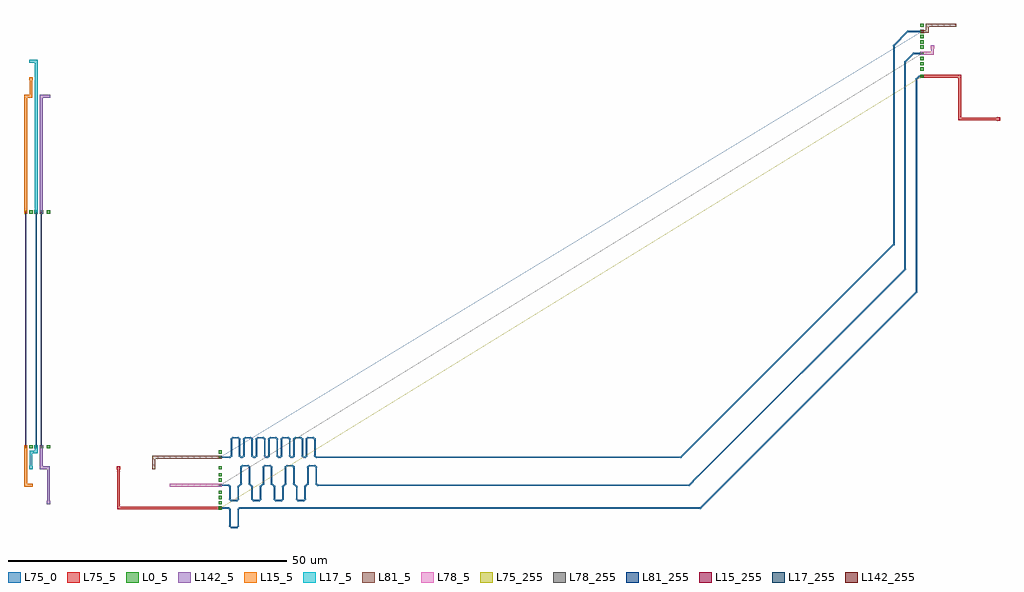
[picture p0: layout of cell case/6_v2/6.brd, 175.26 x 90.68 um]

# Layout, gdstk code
import gdstk
lib = gdstk.Library(unit=1e-6, precision=2.5e-10)
def R(c, l, rs):  # rectangles x0, y0, x1, y1
    for r in rs: c.add(gdstk.rectangle(r[:2], r[2:], *l))
def A(c, l, x, y, w, h, nx, ny, dx, dy):  # array of equal rectangles
    R(c, l, [(x+i*dx, y+j*dy, x+i*dx+w, y+j*dy+h) for i in range(nx) for j in range(ny)])
def P(c, l, *ps):  # polygons
    for p in ps: c.add(gdstk.Polygon(p, *l))
L0_5 = (0, 5)
L15_5 = (15, 5)
L15_255 = (15, 255)
L17_5 = (17, 5)
L17_255 = (17, 255)
L75_0 = (75, 0)
L75_5 = (75, 5)
L75_255 = (75, 255)
L78_5 = (78, 5)
L78_255 = (78, 255)
L81_5 = (81, 5)
L81_255 = (81, 255)
L142_5 = (142, 5)
L142_255 = (142, 255)

case_6_v2_6_brd = lib.new_cell('case/6_v2/6.brd')
R(case_6_v2_6_brd, L0_5, [(679.904,1205.252,680.504,1205.852), (679.904,1205.252,680.504,1205.852), (679.904,1205.252,680.504,1205.852), (679.904,1206.192,680.504,1206.792), (679.904,1206.192,680.504,1206.792), (679.904,1206.192,680.504,1206.792), (679.904,1207.132,680.504,1207.732), (679.904,1207.132,680.504,1207.732), (679.904,1207.132,680.504,1207.732), (679.904,1208.072,680.504,1208.672), (679.904,1208.072,680.504,1208.672), (679.904,1208.072,680.504,1208.672), (679.904,1209.342,680.504,1209.942), (679.904,1209.342,680.504,1209.942), (679.904,1209.342,680.504,1209.942), (679.904,1210.282,680.504,1210.882), (679.904,1210.282,680.504,1210.882), (679.904,1210.282,680.504,1210.882), (679.904,1211.222,680.504,1211.822), (679.904,1211.222,680.504,1211.822), (679.904,1211.222,680.504,1211.822), (679.904,1212.491,680.504,1213.091), (679.904,1212.491,680.504,1213.091), (679.904,1212.491,680.504,1213.091), (679.904,1214.371,680.504,1214.971), (679.904,1214.371,680.504,1214.971), (679.904,1214.371,680.504,1214.971), (679.904,1215.311,680.504,1215.911), (679.904,1215.311,680.504,1215.911), (679.904,1215.311,680.504,1215.911), (644.977,1216.251,645.577,1216.851), (644.977,1216.251,645.577,1216.851), (644.977,1216.251,645.577,1216.851), (645.917,1216.251,646.517,1216.851), (645.917,1216.251,646.517,1216.851), (645.917,1216.251,646.517,1216.851), (646.857,1216.251,647.457,1216.851), (646.857,1216.251,647.457,1216.851), (646.857,1216.251,647.457,1216.851), (647.797,1216.251,648.397,1216.851), (647.797,1216.251,648.397,1216.851), (647.797,1216.251,648.397,1216.851), (649.067,1216.251,649.667,1216.851), (649.067,1216.251,649.667,1216.851), (649.067,1216.251,649.667,1216.851), (644.977,1258.415,645.577,1259.015), (644.977,1258.415,645.577,1259.015), (644.977,1258.415,645.577,1259.015), (645.917,1258.415,646.517,1259.015), (645.917,1258.415,646.517,1259.015), (645.917,1258.415,646.517,1259.015), (646.857,1258.415,647.457,1259.015), (646.857,1258.415,647.457,1259.015), (646.857,1258.415,647.457,1259.015), (647.797,1258.415,648.397,1259.015), (647.797,1258.415,648.397,1259.015), (647.797,1258.415,648.397,1259.015), (649.067,1258.415,649.667,1259.015), (649.067,1258.415,649.667,1259.015), (649.067,1258.415,649.667,1259.015), (805.946,1282.789,806.546,1283.389), (805.946,1282.789,806.546,1283.389), (805.946,1282.789,806.546,1283.389), (805.946,1284.083,806.546,1284.683), (805.946,1284.083,806.546,1284.683), (805.946,1284.083,806.546,1284.683), (805.946,1285.023,806.546,1285.623), (805.946,1285.023,806.546,1285.623), (805.946,1285.023,806.546,1285.623), (805.946,1285.963,806.546,1286.563), (805.946,1285.963,806.546,1286.563), (805.946,1285.963,806.546,1286.563), (805.946,1286.903,806.546,1287.503), (805.946,1286.903,806.546,1287.503), (805.946,1286.903,806.546,1287.503), (805.946,1288.02,806.546,1288.62), (805.946,1288.02,806.546,1288.62), (805.946,1288.02,806.546,1288.62), (805.946,1288.96,806.546,1289.56), (805.946,1288.96,806.546,1289.56), (805.946,1288.96,806.546,1289.56), (805.946,1289.9,806.546,1290.5), (805.946,1289.9,806.546,1290.5), (805.946,1289.9,806.546,1290.5), (805.946,1290.84,806.546,1291.44), (805.946,1290.84,806.546,1291.44), (805.946,1290.84,806.546,1291.44), (805.946,1291.957,806.546,1292.557), (805.946,1291.957,806.546,1292.557), (805.946,1291.957,806.546,1292.557)])
A(case_6_v2_6_brd, L15_5, 645.027, 1258.465, 0.5, 1.44, 1, 4, 0, 0.94)
A(case_6_v2_6_brd, L15_5, 645.027, 1266.644, 0.5, 1.44, 1, 12, 0, 0.94)
R(case_6_v2_6_brd, L15_5, [(645.917,1209.342,646.517,1209.942), (645.027,1209.392,646.467,1209.892), (645.027,1209.392,645.527,1210.832), (645.027,1210.332,645.527,1211.772), (645.027,1211.272,645.527,1213.041), (645.027,1212.541,645.527,1214.921), (645.027,1214.421,645.527,1215.861), (645.027,1215.361,645.527,1216.801), (645.027,1262.225,645.527,1263.994), (645.027,1263.494,645.527,1264.934), (645.027,1264.434,645.527,1265.874), (645.027,1265.374,645.527,1267.144), (645.027,1277.924,645.527,1279.742), (645.027,1279.242,646.467,1279.742), (645.967,1279.242,646.467,1280.682), (645.967,1280.182,646.467,1281.622), (645.967,1281.122,646.467,1282.892), (645.917,1282.342,646.517,1282.942)])
P(case_6_v2_6_brd, L15_255, [(645.277,1216.551),(645.277,1258.715),(645.277,1258.715),(645.277,1216.551)])
A(case_6_v2_6_brd, L17_5, 646.907, 1258.465, 0.5, 1.44, 1, 4, 0, 0.94)
A(case_6_v2_6_brd, L17_5, 646.907, 1266.644, 0.5, 1.44, 1, 12, 0, 0.94)
R(case_6_v2_6_brd, L17_5, [(645.917,1212.491,646.517,1213.091), (645.967,1212.541,646.467,1214.921), (645.967,1214.421,646.467,1215.861), (645.967,1215.361,647.407,1215.861), (646.907,1215.361,647.407,1216.801), (646.907,1262.225,647.407,1263.994), (646.907,1263.494,647.407,1264.934), (646.907,1264.434,647.407,1265.874), (646.907,1265.374,647.407,1267.144), (646.907,1277.924,647.407,1279.742), (646.907,1279.242,647.407,1280.682), (646.907,1280.182,647.407,1281.622), (646.907,1281.122,647.407,1282.892), (646.907,1282.392,647.407,1283.832), (646.907,1283.332,647.407,1284.772), (646.907,1284.272,647.407,1286.041), (645.917,1285.491,646.517,1286.091), (645.967,1285.539,647.407,1286.039)])
P(case_6_v2_6_brd, L17_255, [(647.157,1216.551),(647.157,1258.715),(647.157,1258.715),(647.157,1216.551)])
A(case_6_v2_6_brd, L75_5, 661.715, 1205.302, 1.44, 0.5, 5, 1, 0.94, 0)
A(case_6_v2_6_brd, L75_5, 676.194, 1205.302, 1.44, 0.5, 4, 1, 0.94, 0)
A(case_6_v2_6_brd, L75_5, 815.75, 1275.142, 1.44, 0.5, 3, 1, 0.94, 0)
A(case_6_v2_6_brd, L75_5, 812.753, 1276.259, 0.5, 1.44, 1, 7, 0, 0.94)
A(case_6_v2_6_brd, L75_5, 805.996, 1282.839, 1.44, 0.5, 5, 1, 0.94, 0)
R(case_6_v2_6_brd, L75_5, [(661.715,1205.302,662.215,1213.041), (666.415,1205.302,668.514,1205.802), (668.014,1205.302,669.454,1205.802), (668.954,1205.302,670.394,1205.802), (669.894,1205.302,671.664,1205.802), (671.164,1205.302,672.604,1205.802), (672.104,1205.302,673.544,1205.802), (673.044,1205.302,674.814,1205.802), (674.314,1205.302,676.694,1205.802), (661.665,1212.491,662.265,1213.091), (819.637,1275.092,820.237,1275.692), (812.753,1275.142,814.193,1275.642), (812.753,1275.142,813.253,1276.759), (813.693,1275.142,815.133,1275.642), (814.633,1275.142,816.25,1275.642), (818.57,1275.142,820.187,1275.642), (810.696,1282.839,812.313,1283.339), (811.813,1282.839,813.253,1283.339)])
P(case_6_v2_6_brd, L75_255, [(680.204,1205.552),(680.204,1205.552),(806.246,1283.089),(806.246,1283.089)])
A(case_6_v2_6_brd, L78_5, 676.194, 1209.392, 1.44, 0.5, 4, 1, 0.94, 0)
R(case_6_v2_6_brd, L78_5, [(671.114,1209.342,671.714,1209.942), (671.164,1209.392,672.604,1209.892), (672.104,1209.392,673.544,1209.892), (673.044,1209.392,674.814,1209.892), (674.314,1209.392,676.694,1209.892), (805.996,1286.953,807.436,1287.453), (806.936,1286.953,808.376,1287.453), (807.876,1286.953,808.376,1288.57), (807.826,1288.02,808.426,1288.62)])
P(case_6_v2_6_brd, L78_255, [(680.204,1209.642),(680.204,1209.642),(806.246,1287.203),(806.246,1287.203)])
A(case_6_v2_6_brd, L81_5, 676.194, 1214.421, 1.44, 0.5, 4, 1, 0.94, 0)
A(case_6_v2_6_brd, L81_5, 806.936, 1292.007, 1.44, 0.5, 4, 1, 0.94, 0)
R(case_6_v2_6_brd, L81_5, [(667.964,1212.491,668.564,1213.091), (668.014,1212.541,668.514,1214.921), (668.014,1214.421,669.454,1214.921), (668.954,1214.421,670.394,1214.921), (669.894,1214.421,671.664,1214.921), (671.164,1214.421,672.604,1214.921), (672.104,1214.421,673.544,1214.921), (673.044,1214.421,674.814,1214.921), (674.314,1214.421,676.694,1214.921), (805.996,1290.89,807.436,1291.39), (806.936,1290.89,807.436,1292.507), (811.763,1291.957,812.363,1292.557), (810.696,1292.007,812.313,1292.507)])
P(case_6_v2_6_brd, L81_255, [(680.204,1214.671),(680.204,1214.671),(806.246,1291.14),(806.246,1291.14)])
A(case_6_v2_6_brd, L142_5, 647.847, 1258.465, 0.5, 1.44, 1, 4, 0, 0.94)
A(case_6_v2_6_brd, L142_5, 647.847, 1266.644, 0.5, 1.44, 1, 12, 0, 0.94)
R(case_6_v2_6_brd, L142_5, [(649.067,1206.192,649.667,1206.792), (649.117,1206.242,649.617,1207.682), (649.117,1207.182,649.617,1208.622), (649.117,1208.122,649.617,1209.892), (649.117,1209.392,649.617,1210.832), (649.117,1210.332,649.617,1211.772), (649.117,1211.272,649.617,1213.041), (647.847,1212.541,649.617,1213.041), (647.847,1212.541,648.347,1214.921), (647.847,1214.421,648.347,1215.861), (647.847,1215.361,648.347,1216.801), (647.847,1262.225,648.347,1263.994), (647.847,1263.494,648.347,1264.934), (647.847,1264.434,648.347,1265.874), (647.847,1265.374,648.347,1267.144), (647.847,1277.924,648.347,1279.742), (649.067,1279.192,649.667,1279.792), (647.847,1279.242,649.617,1279.742)])
P(case_6_v2_6_brd, L142_255, [(648.097,1216.551),(648.097,1258.715),(648.097,1258.715),(648.097,1216.551)])
case_6_v2_6_brd.add(gdstk.FlexPath([(764.436,1216.171),(801.171,1252.905)], 0.25, ends="round", simple_path=True, layer=75, datatype=0))  # L75_0
case_6_v2_6_brd.add(gdstk.FlexPath([(683.704,1205.552),(766.452,1205.552)], 0.25, ends="round", simple_path=True, layer=75, datatype=0))  # L75_0
case_6_v2_6_brd.add(gdstk.FlexPath([(805.221,1245.82),(805.221,1282.576)], 0.25, ends="round", simple_path=True, layer=75, datatype=0))  # L75_0
case_6_v2_6_brd.add(gdstk.FlexPath([(697.704,1209.642),(764.415,1209.642)], 0.25, ends="round", simple_path=True, layer=75, datatype=0))  # L75_0
case_6_v2_6_brd.add(gdstk.FlexPath([(697.454,1214.671),(762.936,1214.671)], 0.25, ends="round", simple_path=True, layer=75, datatype=0))  # L75_0
case_6_v2_6_brd.add(gdstk.FlexPath([(765.915,1211.142),(803.196,1248.422)], 0.25, ends="round", simple_path=True, layer=75, datatype=0))  # L75_0
case_6_v2_6_brd.add(gdstk.FlexPath([(645.277,1218.051),(645.277,1258.715)], 0.15, ends="round", simple_path=True, layer=75, datatype=0))  # L75_0
case_6_v2_6_brd.add(gdstk.FlexPath([(647.157,1218.051),(647.157,1258.715)], 0.15, ends="round", simple_path=True, layer=75, datatype=0))  # L75_0
case_6_v2_6_brd.add(gdstk.FlexPath([(648.097,1218.051),(648.097,1258.715)], 0.15, ends="round", simple_path=True, layer=75, datatype=0))  # L75_0
case_6_v2_6_brd.add(gdstk.FlexPath([(805.733,1283.089),(806.246,1283.089)], 0.25, ends="round", simple_path=True, layer=75, datatype=0))  # L75_0
case_6_v2_6_brd.add(gdstk.FlexPath([(801.171,1252.905),(801.171,1254.405)], 0.25, ends="round", simple_path=True, layer=75, datatype=0))  # L75_0
case_6_v2_6_brd.add(gdstk.FlexPath([(801.171,1254.405),(801.171,1288.602)], 0.25, ends="round", simple_path=True, layer=75, datatype=0))  # L75_0
case_6_v2_6_brd.add(gdstk.FlexPath([(803.708,1291.14),(806.246,1291.14)], 0.25, ends="round", simple_path=True, layer=75, datatype=0))  # L75_0
case_6_v2_6_brd.add(gdstk.FlexPath([(805.221,1282.576),(805.733,1283.089)], 0.25, ends="round", simple_path=True, layer=75, datatype=0))  # L75_0
case_6_v2_6_brd.add(gdstk.FlexPath([(801.171,1288.602),(803.708,1291.14)], 0.25, ends="round", simple_path=True, layer=75, datatype=0))  # L75_0
case_6_v2_6_brd.add(gdstk.FlexPath([(803.196,1285.678),(804.721,1287.203)], 0.25, ends="round", simple_path=True, layer=75, datatype=0))  # L75_0
case_6_v2_6_brd.add(gdstk.FlexPath([(803.196,1248.422),(803.196,1249.922)], 0.25, ends="round", simple_path=True, layer=75, datatype=0))  # L75_0
case_6_v2_6_brd.add(gdstk.FlexPath([(803.196,1249.922),(803.196,1285.678)], 0.25, ends="round", simple_path=True, layer=75, datatype=0))  # L75_0
case_6_v2_6_brd.add(gdstk.FlexPath([(804.721,1287.203),(806.246,1287.203)], 0.25, ends="round", simple_path=True, layer=75, datatype=0))  # L75_0
case_6_v2_6_brd.add(gdstk.FlexPath([(685.204,1213.142),(685.454,1212.892)], 0.25, ends="round", simple_path=True, layer=75, datatype=0))  # L75_0
case_6_v2_6_brd.add(gdstk.FlexPath([(684.704,1218.171),(685.704,1218.171)], 0.25, ends="round", simple_path=True, layer=75, datatype=0))  # L75_0
case_6_v2_6_brd.add(gdstk.FlexPath([(685.454,1209.892),(685.704,1209.642)], 0.25, ends="round", simple_path=True, layer=75, datatype=0))  # L75_0
case_6_v2_6_brd.add(gdstk.FlexPath([(685.454,1212.892),(685.454,1209.892)], 0.25, ends="round", simple_path=True, layer=75, datatype=0))  # L75_0
case_6_v2_6_brd.add(gdstk.FlexPath([(682.204,1214.921),(682.204,1217.921)], 0.25, ends="round", simple_path=True, layer=75, datatype=0))  # L75_0
case_6_v2_6_brd.add(gdstk.FlexPath([(682.454,1218.171),(683.454,1218.171)], 0.25, ends="round", simple_path=True, layer=75, datatype=0))  # L75_0
case_6_v2_6_brd.add(gdstk.FlexPath([(683.704,1217.921),(683.704,1214.921)], 0.25, ends="round", simple_path=True, layer=75, datatype=0))  # L75_0
case_6_v2_6_brd.add(gdstk.FlexPath([(683.954,1214.671),(684.204,1214.671)], 0.25, ends="round", simple_path=True, layer=75, datatype=0))  # L75_0
case_6_v2_6_brd.add(gdstk.FlexPath([(684.454,1214.921),(684.454,1217.921)], 0.25, ends="round", simple_path=True, layer=75, datatype=0))  # L75_0
case_6_v2_6_brd.add(gdstk.FlexPath([(683.954,1212.892),(684.204,1213.142)], 0.25, ends="round", simple_path=True, layer=75, datatype=0))  # L75_0
case_6_v2_6_brd.add(gdstk.FlexPath([(681.954,1214.671),(682.204,1214.921)], 0.25, ends="round", simple_path=True, layer=75, datatype=0))  # L75_0
case_6_v2_6_brd.add(gdstk.FlexPath([(682.204,1217.921),(682.454,1218.171)], 0.25, ends="round", simple_path=True, layer=75, datatype=0))  # L75_0
case_6_v2_6_brd.add(gdstk.FlexPath([(683.454,1218.171),(683.704,1217.921)], 0.25, ends="round", simple_path=True, layer=75, datatype=0))  # L75_0
case_6_v2_6_brd.add(gdstk.FlexPath([(683.704,1214.921),(683.954,1214.671)], 0.25, ends="round", simple_path=True, layer=75, datatype=0))  # L75_0
case_6_v2_6_brd.add(gdstk.FlexPath([(684.204,1214.671),(684.454,1214.921)], 0.25, ends="round", simple_path=True, layer=75, datatype=0))  # L75_0
case_6_v2_6_brd.add(gdstk.FlexPath([(684.454,1217.921),(684.704,1218.171)], 0.25, ends="round", simple_path=True, layer=75, datatype=0))  # L75_0
case_6_v2_6_brd.add(gdstk.FlexPath([(681.954,1207.142),(682.204,1206.892)], 0.25, ends="round", simple_path=True, layer=75, datatype=0))  # L75_0
case_6_v2_6_brd.add(gdstk.FlexPath([(683.204,1206.892),(683.454,1207.142)], 0.25, ends="round", simple_path=True, layer=75, datatype=0))  # L75_0
case_6_v2_6_brd.add(gdstk.FlexPath([(683.454,1209.392),(683.704,1209.642)], 0.25, ends="round", simple_path=True, layer=75, datatype=0))  # L75_0
case_6_v2_6_brd.add(gdstk.FlexPath([(683.704,1209.642),(683.954,1209.892)], 0.25, ends="round", simple_path=True, layer=75, datatype=0))  # L75_0
case_6_v2_6_brd.add(gdstk.FlexPath([(680.204,1214.671),(681.704,1214.671)], 0.25, ends="round", simple_path=True, layer=75, datatype=0))  # L75_0
case_6_v2_6_brd.add(gdstk.FlexPath([(681.954,1209.392),(681.954,1207.142)], 0.25, ends="round", simple_path=True, layer=75, datatype=0))  # L75_0
case_6_v2_6_brd.add(gdstk.FlexPath([(682.204,1206.892),(683.204,1206.892)], 0.25, ends="round", simple_path=True, layer=75, datatype=0))  # L75_0
case_6_v2_6_brd.add(gdstk.FlexPath([(683.454,1207.142),(683.454,1209.392)], 0.25, ends="round", simple_path=True, layer=75, datatype=0))  # L75_0
case_6_v2_6_brd.add(gdstk.FlexPath([(683.954,1209.892),(683.954,1212.892)], 0.25, ends="round", simple_path=True, layer=75, datatype=0))  # L75_0
case_6_v2_6_brd.add(gdstk.FlexPath([(683.454,1202.302),(683.454,1205.302)], 0.25, ends="round", simple_path=True, layer=75, datatype=0))  # L75_0
case_6_v2_6_brd.add(gdstk.FlexPath([(681.704,1214.671),(681.954,1214.671)], 0.25, ends="round", simple_path=True, layer=75, datatype=0))  # L75_0
case_6_v2_6_brd.add(gdstk.FlexPath([(680.204,1205.552),(681.704,1205.552)], 0.25, ends="round", simple_path=True, layer=75, datatype=0))  # L75_0
case_6_v2_6_brd.add(gdstk.FlexPath([(681.954,1205.302),(681.954,1202.302)], 0.25, ends="round", simple_path=True, layer=75, datatype=0))  # L75_0
case_6_v2_6_brd.add(gdstk.FlexPath([(682.204,1202.052),(683.204,1202.052)], 0.25, ends="round", simple_path=True, layer=75, datatype=0))  # L75_0
case_6_v2_6_brd.add(gdstk.FlexPath([(680.204,1209.642),(681.704,1209.642)], 0.25, ends="round", simple_path=True, layer=75, datatype=0))  # L75_0
case_6_v2_6_brd.add(gdstk.FlexPath([(681.704,1205.552),(681.954,1205.302)], 0.25, ends="round", simple_path=True, layer=75, datatype=0))  # L75_0
case_6_v2_6_brd.add(gdstk.FlexPath([(681.954,1202.302),(682.204,1202.052)], 0.25, ends="round", simple_path=True, layer=75, datatype=0))  # L75_0
case_6_v2_6_brd.add(gdstk.FlexPath([(683.204,1202.052),(683.454,1202.302)], 0.25, ends="round", simple_path=True, layer=75, datatype=0))  # L75_0
case_6_v2_6_brd.add(gdstk.FlexPath([(683.454,1205.302),(683.704,1205.552)], 0.25, ends="round", simple_path=True, layer=75, datatype=0))  # L75_0
case_6_v2_6_brd.add(gdstk.FlexPath([(681.704,1209.642),(681.954,1209.392)], 0.25, ends="round", simple_path=True, layer=75, datatype=0))  # L75_0
case_6_v2_6_brd.add(gdstk.FlexPath([(645.277,1216.551),(645.277,1218.051)], 0.15, ends="round", simple_path=True, layer=75, datatype=0))  # L75_0
case_6_v2_6_brd.add(gdstk.FlexPath([(684.204,1213.142),(685.204,1213.142)], 0.25, ends="round", simple_path=True, layer=75, datatype=0))  # L75_0
case_6_v2_6_brd.add(gdstk.FlexPath([(647.157,1216.551),(647.157,1218.051)], 0.15, ends="round", simple_path=True, layer=75, datatype=0))  # L75_0
case_6_v2_6_brd.add(gdstk.FlexPath([(648.097,1216.551),(648.097,1218.051)], 0.15, ends="round", simple_path=True, layer=75, datatype=0))  # L75_0
case_6_v2_6_brd.add(gdstk.FlexPath([(694.954,1214.921),(695.204,1214.671)], 0.25, ends="round", simple_path=True, layer=75, datatype=0))  # L75_0
case_6_v2_6_brd.add(gdstk.FlexPath([(690.954,1214.671),(691.204,1214.921)], 0.25, ends="round", simple_path=True, layer=75, datatype=0))  # L75_0
case_6_v2_6_brd.add(gdstk.FlexPath([(691.204,1217.921),(691.454,1218.171)], 0.25, ends="round", simple_path=True, layer=75, datatype=0))  # L75_0
case_6_v2_6_brd.add(gdstk.FlexPath([(693.204,1214.671),(693.454,1214.921)], 0.25, ends="round", simple_path=True, layer=75, datatype=0))  # L75_0
case_6_v2_6_brd.add(gdstk.FlexPath([(695.454,1214.671),(695.704,1214.921)], 0.25, ends="round", simple_path=True, layer=75, datatype=0))  # L75_0
case_6_v2_6_brd.add(gdstk.FlexPath([(695.954,1218.171),(696.954,1218.171)], 0.25, ends="round", simple_path=True, layer=75, datatype=0))  # L75_0
case_6_v2_6_brd.add(gdstk.FlexPath([(695.704,1217.921),(695.954,1218.171)], 0.25, ends="round", simple_path=True, layer=75, datatype=0))  # L75_0
case_6_v2_6_brd.add(gdstk.FlexPath([(695.954,1209.892),(695.954,1212.892)], 0.25, ends="round", simple_path=True, layer=75, datatype=0))  # L75_0
case_6_v2_6_brd.add(gdstk.FlexPath([(696.204,1213.142),(697.204,1213.142)], 0.25, ends="round", simple_path=True, layer=75, datatype=0))  # L75_0
case_6_v2_6_brd.add(gdstk.FlexPath([(687.954,1212.892),(688.204,1213.142)], 0.25, ends="round", simple_path=True, layer=75, datatype=0))  # L75_0
case_6_v2_6_brd.add(gdstk.FlexPath([(689.204,1213.142),(689.454,1212.892)], 0.25, ends="round", simple_path=True, layer=75, datatype=0))  # L75_0
case_6_v2_6_brd.add(gdstk.FlexPath([(691.954,1212.892),(692.204,1213.142)], 0.25, ends="round", simple_path=True, layer=75, datatype=0))  # L75_0
case_6_v2_6_brd.add(gdstk.FlexPath([(685.954,1217.921),(685.954,1214.921)], 0.25, ends="round", simple_path=True, layer=75, datatype=0))  # L75_0
case_6_v2_6_brd.add(gdstk.FlexPath([(693.204,1213.142),(693.454,1212.892)], 0.25, ends="round", simple_path=True, layer=75, datatype=0))  # L75_0
case_6_v2_6_brd.add(gdstk.FlexPath([(695.454,1209.392),(695.704,1209.642)], 0.25, ends="round", simple_path=True, layer=75, datatype=0))  # L75_0
case_6_v2_6_brd.add(gdstk.FlexPath([(695.704,1209.642),(695.954,1209.892)], 0.25, ends="round", simple_path=True, layer=75, datatype=0))  # L75_0
case_6_v2_6_brd.add(gdstk.FlexPath([(695.954,1212.892),(696.204,1213.142)], 0.25, ends="round", simple_path=True, layer=75, datatype=0))  # L75_0
case_6_v2_6_brd.add(gdstk.FlexPath([(697.204,1213.142),(697.454,1212.892)], 0.25, ends="round", simple_path=True, layer=75, datatype=0))  # L75_0
case_6_v2_6_brd.add(gdstk.FlexPath([(696.954,1218.171),(697.204,1217.921)], 0.25, ends="round", simple_path=True, layer=75, datatype=0))  # L75_0
case_6_v2_6_brd.add(gdstk.FlexPath([(685.704,1218.171),(685.954,1217.921)], 0.25, ends="round", simple_path=True, layer=75, datatype=0))  # L75_0
case_6_v2_6_brd.add(gdstk.FlexPath([(685.954,1214.921),(686.204,1214.671)], 0.25, ends="round", simple_path=True, layer=75, datatype=0))  # L75_0
case_6_v2_6_brd.add(gdstk.FlexPath([(686.454,1214.671),(686.704,1214.921)], 0.25, ends="round", simple_path=True, layer=75, datatype=0))  # L75_0
case_6_v2_6_brd.add(gdstk.FlexPath([(686.704,1217.921),(686.954,1218.171)], 0.25, ends="round", simple_path=True, layer=75, datatype=0))  # L75_0
case_6_v2_6_brd.add(gdstk.FlexPath([(687.954,1218.171),(688.204,1217.921)], 0.25, ends="round", simple_path=True, layer=75, datatype=0))  # L75_0
case_6_v2_6_brd.add(gdstk.FlexPath([(688.204,1214.921),(688.454,1214.671)], 0.25, ends="round", simple_path=True, layer=75, datatype=0))  # L75_0
case_6_v2_6_brd.add(gdstk.FlexPath([(688.704,1214.671),(688.954,1214.921)], 0.25, ends="round", simple_path=True, layer=75, datatype=0))  # L75_0
case_6_v2_6_brd.add(gdstk.FlexPath([(688.954,1217.921),(689.204,1218.171)], 0.25, ends="round", simple_path=True, layer=75, datatype=0))  # L75_0
case_6_v2_6_brd.add(gdstk.FlexPath([(690.204,1218.171),(690.454,1217.921)], 0.25, ends="round", simple_path=True, layer=75, datatype=0))  # L75_0
case_6_v2_6_brd.add(gdstk.FlexPath([(690.454,1214.921),(690.704,1214.671)], 0.25, ends="round", simple_path=True, layer=75, datatype=0))  # L75_0
case_6_v2_6_brd.add(gdstk.FlexPath([(697.204,1214.921),(697.454,1214.671)], 0.25, ends="round", simple_path=True, layer=75, datatype=0))  # L75_0
case_6_v2_6_brd.add(gdstk.FlexPath([(697.204,1217.921),(697.204,1214.921)], 0.25, ends="round", simple_path=True, layer=75, datatype=0))  # L75_0
case_6_v2_6_brd.add(gdstk.FlexPath([(686.204,1214.671),(686.454,1214.671)], 0.25, ends="round", simple_path=True, layer=75, datatype=0))  # L75_0
case_6_v2_6_brd.add(gdstk.FlexPath([(686.704,1214.921),(686.704,1217.921)], 0.25, ends="round", simple_path=True, layer=75, datatype=0))  # L75_0
case_6_v2_6_brd.add(gdstk.FlexPath([(694.204,1206.892),(695.204,1206.892)], 0.25, ends="round", simple_path=True, layer=75, datatype=0))  # L75_0
case_6_v2_6_brd.add(gdstk.FlexPath([(695.454,1207.142),(695.454,1209.392)], 0.25, ends="round", simple_path=True, layer=75, datatype=0))  # L75_0
case_6_v2_6_brd.add(gdstk.FlexPath([(686.954,1218.171),(687.954,1218.171)], 0.25, ends="round", simple_path=True, layer=75, datatype=0))  # L75_0
case_6_v2_6_brd.add(gdstk.FlexPath([(685.704,1209.642),(685.954,1209.392)], 0.25, ends="round", simple_path=True, layer=75, datatype=0))  # L75_0
case_6_v2_6_brd.add(gdstk.FlexPath([(685.954,1207.142),(686.204,1206.892)], 0.25, ends="round", simple_path=True, layer=75, datatype=0))  # L75_0
case_6_v2_6_brd.add(gdstk.FlexPath([(687.204,1206.892),(687.454,1207.142)], 0.25, ends="round", simple_path=True, layer=75, datatype=0))  # L75_0
case_6_v2_6_brd.add(gdstk.FlexPath([(687.454,1209.392),(687.704,1209.642)], 0.25, ends="round", simple_path=True, layer=75, datatype=0))  # L75_0
case_6_v2_6_brd.add(gdstk.FlexPath([(687.704,1209.642),(687.954,1209.892)], 0.25, ends="round", simple_path=True, layer=75, datatype=0))  # L75_0
case_6_v2_6_brd.add(gdstk.FlexPath([(688.204,1217.921),(688.204,1214.921)], 0.25, ends="round", simple_path=True, layer=75, datatype=0))  # L75_0
case_6_v2_6_brd.add(gdstk.FlexPath([(688.454,1214.671),(688.704,1214.671)], 0.25, ends="round", simple_path=True, layer=75, datatype=0))  # L75_0
case_6_v2_6_brd.add(gdstk.FlexPath([(689.454,1209.892),(689.704,1209.642)], 0.25, ends="round", simple_path=True, layer=75, datatype=0))  # L75_0
case_6_v2_6_brd.add(gdstk.FlexPath([(689.704,1209.642),(689.954,1209.392)], 0.25, ends="round", simple_path=True, layer=75, datatype=0))  # L75_0
case_6_v2_6_brd.add(gdstk.FlexPath([(689.954,1207.142),(690.204,1206.892)], 0.25, ends="round", simple_path=True, layer=75, datatype=0))  # L75_0
case_6_v2_6_brd.add(gdstk.FlexPath([(691.204,1206.892),(691.454,1207.142)], 0.25, ends="round", simple_path=True, layer=75, datatype=0))  # L75_0
case_6_v2_6_brd.add(gdstk.FlexPath([(691.454,1209.392),(691.704,1209.642)], 0.25, ends="round", simple_path=True, layer=75, datatype=0))  # L75_0
case_6_v2_6_brd.add(gdstk.FlexPath([(691.704,1209.642),(691.954,1209.892)], 0.25, ends="round", simple_path=True, layer=75, datatype=0))  # L75_0
case_6_v2_6_brd.add(gdstk.FlexPath([(688.954,1214.921),(688.954,1217.921)], 0.25, ends="round", simple_path=True, layer=75, datatype=0))  # L75_0
case_6_v2_6_brd.add(gdstk.FlexPath([(689.204,1218.171),(690.204,1218.171)], 0.25, ends="round", simple_path=True, layer=75, datatype=0))  # L75_0
case_6_v2_6_brd.add(gdstk.FlexPath([(693.454,1209.892),(693.704,1209.642)], 0.25, ends="round", simple_path=True, layer=75, datatype=0))  # L75_0
case_6_v2_6_brd.add(gdstk.FlexPath([(693.704,1209.642),(693.954,1209.392)], 0.25, ends="round", simple_path=True, layer=75, datatype=0))  # L75_0
case_6_v2_6_brd.add(gdstk.FlexPath([(693.954,1207.142),(694.204,1206.892)], 0.25, ends="round", simple_path=True, layer=75, datatype=0))  # L75_0
case_6_v2_6_brd.add(gdstk.FlexPath([(695.204,1206.892),(695.454,1207.142)], 0.25, ends="round", simple_path=True, layer=75, datatype=0))  # L75_0
case_6_v2_6_brd.add(gdstk.FlexPath([(690.454,1217.921),(690.454,1214.921)], 0.25, ends="round", simple_path=True, layer=75, datatype=0))  # L75_0
case_6_v2_6_brd.add(gdstk.FlexPath([(690.704,1214.671),(690.954,1214.671)], 0.25, ends="round", simple_path=True, layer=75, datatype=0))  # L75_0
case_6_v2_6_brd.add(gdstk.FlexPath([(685.954,1209.392),(685.954,1207.142)], 0.25, ends="round", simple_path=True, layer=75, datatype=0))  # L75_0
case_6_v2_6_brd.add(gdstk.FlexPath([(686.204,1206.892),(687.204,1206.892)], 0.25, ends="round", simple_path=True, layer=75, datatype=0))  # L75_0
case_6_v2_6_brd.add(gdstk.FlexPath([(691.204,1214.921),(691.204,1217.921)], 0.25, ends="round", simple_path=True, layer=75, datatype=0))  # L75_0
case_6_v2_6_brd.add(gdstk.FlexPath([(691.454,1218.171),(692.454,1218.171)], 0.25, ends="round", simple_path=True, layer=75, datatype=0))  # L75_0
case_6_v2_6_brd.add(gdstk.FlexPath([(687.454,1207.142),(687.454,1209.392)], 0.25, ends="round", simple_path=True, layer=75, datatype=0))  # L75_0
case_6_v2_6_brd.add(gdstk.FlexPath([(687.954,1209.892),(687.954,1212.892)], 0.25, ends="round", simple_path=True, layer=75, datatype=0))  # L75_0
case_6_v2_6_brd.add(gdstk.FlexPath([(692.704,1217.921),(692.704,1214.921)], 0.25, ends="round", simple_path=True, layer=75, datatype=0))  # L75_0
case_6_v2_6_brd.add(gdstk.FlexPath([(689.454,1212.892),(689.454,1209.892)], 0.25, ends="round", simple_path=True, layer=75, datatype=0))  # L75_0
case_6_v2_6_brd.add(gdstk.FlexPath([(689.954,1209.392),(689.954,1207.142)], 0.25, ends="round", simple_path=True, layer=75, datatype=0))  # L75_0
case_6_v2_6_brd.add(gdstk.FlexPath([(690.204,1206.892),(691.204,1206.892)], 0.25, ends="round", simple_path=True, layer=75, datatype=0))  # L75_0
case_6_v2_6_brd.add(gdstk.FlexPath([(691.454,1207.142),(691.454,1209.392)], 0.25, ends="round", simple_path=True, layer=75, datatype=0))  # L75_0
case_6_v2_6_brd.add(gdstk.FlexPath([(691.954,1209.892),(691.954,1212.892)], 0.25, ends="round", simple_path=True, layer=75, datatype=0))  # L75_0
case_6_v2_6_brd.add(gdstk.FlexPath([(692.954,1214.671),(693.204,1214.671)], 0.25, ends="round", simple_path=True, layer=75, datatype=0))  # L75_0
case_6_v2_6_brd.add(gdstk.FlexPath([(693.454,1212.892),(693.454,1209.892)], 0.25, ends="round", simple_path=True, layer=75, datatype=0))  # L75_0
case_6_v2_6_brd.add(gdstk.FlexPath([(693.454,1214.921),(693.454,1217.921)], 0.25, ends="round", simple_path=True, layer=75, datatype=0))  # L75_0
case_6_v2_6_brd.add(gdstk.FlexPath([(693.704,1218.171),(694.704,1218.171)], 0.25, ends="round", simple_path=True, layer=75, datatype=0))  # L75_0
case_6_v2_6_brd.add(gdstk.FlexPath([(694.954,1217.921),(694.954,1214.921)], 0.25, ends="round", simple_path=True, layer=75, datatype=0))  # L75_0
case_6_v2_6_brd.add(gdstk.FlexPath([(695.204,1214.671),(695.454,1214.671)], 0.25, ends="round", simple_path=True, layer=75, datatype=0))  # L75_0
case_6_v2_6_brd.add(gdstk.FlexPath([(693.954,1209.392),(693.954,1207.142)], 0.25, ends="round", simple_path=True, layer=75, datatype=0))  # L75_0
case_6_v2_6_brd.add(gdstk.FlexPath([(695.704,1214.921),(695.704,1217.921)], 0.25, ends="round", simple_path=True, layer=75, datatype=0))  # L75_0
case_6_v2_6_brd.add(gdstk.FlexPath([(697.454,1212.892),(697.454,1209.892)], 0.25, ends="round", simple_path=True, layer=75, datatype=0))  # L75_0
case_6_v2_6_brd.add(gdstk.FlexPath([(697.454,1209.892),(697.704,1209.642)], 0.25, ends="round", simple_path=True, layer=75, datatype=0))  # L75_0
case_6_v2_6_brd.add(gdstk.FlexPath([(692.454,1218.171),(692.704,1217.921)], 0.25, ends="round", simple_path=True, layer=75, datatype=0))  # L75_0
case_6_v2_6_brd.add(gdstk.FlexPath([(692.704,1214.921),(692.954,1214.671)], 0.25, ends="round", simple_path=True, layer=75, datatype=0))  # L75_0
case_6_v2_6_brd.add(gdstk.FlexPath([(693.454,1217.921),(693.704,1218.171)], 0.25, ends="round", simple_path=True, layer=75, datatype=0))  # L75_0
case_6_v2_6_brd.add(gdstk.FlexPath([(688.204,1213.142),(689.204,1213.142)], 0.25, ends="round", simple_path=True, layer=75, datatype=0))  # L75_0
case_6_v2_6_brd.add(gdstk.FlexPath([(694.704,1218.171),(694.954,1217.921)], 0.25, ends="round", simple_path=True, layer=75, datatype=0))  # L75_0
case_6_v2_6_brd.add(gdstk.FlexPath([(692.204,1213.142),(693.204,1213.142)], 0.25, ends="round", simple_path=True, layer=75, datatype=0))  # L75_0
case_6_v2_6_brd.add(gdstk.FlexPath([(764.415,1209.642),(765.915,1211.142)], 0.25, ends="round", simple_path=True, layer=75, datatype=0))  # L75_0
case_6_v2_6_brd.add(gdstk.FlexPath([(805.221,1244.32),(805.221,1245.82)], 0.25, ends="round", simple_path=True, layer=75, datatype=0))  # L75_0
case_6_v2_6_brd.add(gdstk.FlexPath([(766.452,1205.552),(767.952,1207.052)], 0.25, ends="round", simple_path=True, layer=75, datatype=0))  # L75_0
case_6_v2_6_brd.add(gdstk.FlexPath([(767.952,1207.052),(805.221,1244.32)], 0.25, ends="round", simple_path=True, layer=75, datatype=0))  # L75_0
case_6_v2_6_brd.add(gdstk.FlexPath([(762.936,1214.671),(764.436,1216.171)], 0.25, ends="round", simple_path=True, layer=75, datatype=0))  # L75_0

lib.write_gds('case_6_v2_6.brd.gds')
